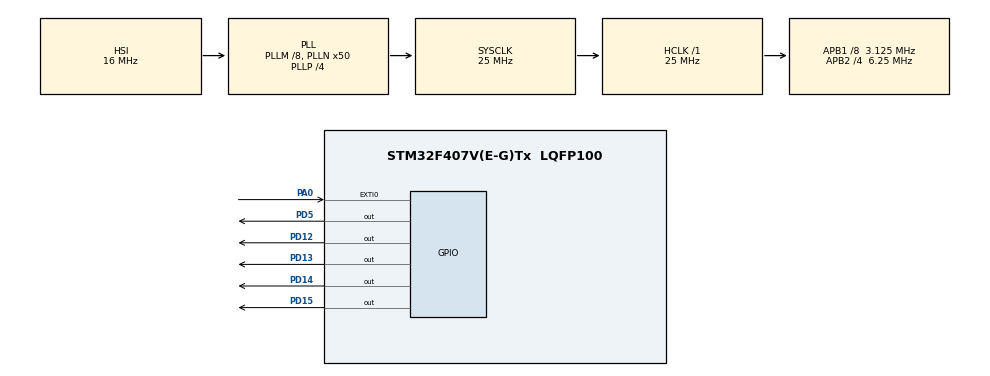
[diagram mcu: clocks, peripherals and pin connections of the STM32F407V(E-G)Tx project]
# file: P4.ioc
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Mcu.Family=STM32F4
Mcu.Name=STM32F407V(E-G)Tx
Mcu.Package=LQFP100
NVIC.EXTI0_IRQn=true\:0\:0\:false\:false\:true\:true\:true
NVIC.PriorityGroup=NVIC_PRIORITYGROUP_0
PA0-WKUP.Signal=GPXTI0
PD12.Signal=GPIO_Output
PD13.Signal=GPIO_Output
PD14.Signal=GPIO_Output
PD15.Signal=GPIO_Output
PD5.Signal=GPIO_Output
ProjectManager.HeapSize=0x200
ProjectManager.StackSize=0x400
ProjectManager.TargetToolchain=STM32CubeIDE
RCC.48MHZClocksFreq_Value=14285714.285714285
RCC.AHBFreq_Value=25000000
RCC.APB1CLKDivider=RCC_HCLK_DIV8
RCC.APB1Freq_Value=3125000
RCC.APB1TimFreq_Value=6250000
RCC.APB2CLKDivider=RCC_HCLK_DIV4
RCC.APB2Freq_Value=6250000
RCC.APB2TimFreq_Value=12500000
RCC.CortexFreq_Value=25000000
RCC.HCLKFreq_Value=25000000
RCC.HSE_VALUE=8000000
RCC.HSI_VALUE=16000000
RCC.PLLM=8
RCC.PLLN=50
RCC.PLLP=RCC_PLLP_DIV4
RCC.PLLQ=7
RCC.SYSCLKFreq_VALUE=25000000
RCC.SYSCLKSource=RCC_SYSCLKSOURCE_PLLCLK
RCC.VCOOutputFreq_Value=100000000
board=STM32F407G-DISC1

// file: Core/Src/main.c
/* USER CODE BEGIN Header */
/**
  ******************************************************************************
  * @file           : main.c
  * @brief          : Main program body
  ******************************************************************************
  * @attention
  *
  * Copyright (c) 2021 STMicroelectronics.
  * All rights reserved.
  *
  * This software is licensed under terms that can be found in the LICENSE file
  * in the root directory of this software component.
  * If no LICENSE file comes with this software, it is provided AS-IS.
  *
  ******************************************************************************
  */
/* USER CODE END Header */
#include "main.h"

/* USER CODE BEGIN Includes */
#include "stdlib.h"
/* USER CODE END Includes */

void SystemClock_Config(void);
static void MX_GPIO_Init(void);

/* USER CODE BEGIN 0 */
int button_int=0;
int t_disparo=0, repeticion=0;
float t_reaccion[5];
float t_reaccion_medio=0;
uint32_t primertick,contador;
/* USER CODE END 0 */

int main(void)
{

  /* MCU Configuration--------------------------------------------------------*/

  /* Reset of all peripherals, Initializes the Flash interface and the Systick. */
  HAL_Init();

  /* Configure the system clock */
  SystemClock_Config();

  /* Initialize all configured peripherals */
  MX_GPIO_Init();
  /* USER CODE BEGIN 2 */
  uint8_t button_count=0;
  /* USER CODE END 2 */

  /* Infinite loop */
  /* USER CODE BEGIN WHILE */
  while (1)
  {
	  if(repeticion<1)
	  {

	  //Bucle for para obtener 5 medidas:
	  int num=5;
	  for(int j=0;j<num;j++){
	  //Deshabilito interrupciones hasta que se encienda el LED
	  HAL_NVIC_DisableIRQ(EXTI0_IRQn);
	  //tiempo de espera máximo en milisegundos
	  int N=4000;
	  //tiempo de espera mínimo en milisegundos
	  int M=2000;
	  contador=0;
	  button_int=0;
	  button_count=0;
	  //Creo animación, se encienden todos los LEDS y se apagan en orden
	  HAL_GPIO_WritePin(GPIOD, GPIO_PIN_12, GPIO_PIN_SET);
	  HAL_GPIO_WritePin(GPIOD, GPIO_PIN_13, GPIO_PIN_SET);
	  HAL_GPIO_WritePin(GPIOD, GPIO_PIN_14, GPIO_PIN_SET);
	  HAL_GPIO_WritePin(GPIOD, GPIO_PIN_15, GPIO_PIN_SET);
	  HAL_Delay(1000);
	  HAL_GPIO_WritePin(GPIOD, GPIO_PIN_12, GPIO_PIN_RESET);
	  HAL_Delay(1000);
	  HAL_GPIO_WritePin(GPIOD, GPIO_PIN_13, GPIO_PIN_RESET);
	  HAL_Delay(1000);
	  HAL_GPIO_WritePin(GPIOD, GPIO_PIN_14, GPIO_PIN_RESET);
	  HAL_Delay(1000);
	  HAL_GPIO_WritePin(GPIOD, GPIO_PIN_15, GPIO_PIN_RESET);
	  //genero tiempo de espera random y espero
	  t_disparo = rand () % (N-M+1) + M;
	  // HAL_Delay(t_disparo);
	  //Si quiero encender los leds mientras se produce la espera:
	  uint32_t tickstart = HAL_GetTick();
	  while((HAL_GetTick() - tickstart) < t_disparo)
	  {
	  //Código leds
		  HAL_GPIO_WritePin(GPIOD, GPIO_PIN_5, GPIO_PIN_RESET);
	  }
	  HAL_GPIO_WritePin(GPIOD, GPIO_PIN_5, GPIO_PIN_SET);
	  //Enciendo los LEDS
	  HAL_GPIO_WritePin(GPIOD, GPIO_PIN_12, GPIO_PIN_SET);
	  HAL_GPIO_WritePin(GPIOD, GPIO_PIN_13, GPIO_PIN_SET);
	  HAL_GPIO_WritePin(GPIOD, GPIO_PIN_14, GPIO_PIN_SET);
	  HAL_GPIO_WritePin(GPIOD, GPIO_PIN_15, GPIO_PIN_SET);
	  //Habilito interrupciones
	  HAL_NVIC_EnableIRQ(EXTI0_IRQn);
	  //Guardo el primer tick
	  primertick=HAL_GetTick();
	  //Sin Antirrebotes
	  while (button_int==0){
	    contador=HAL_GetTick()-primertick;
	  }

	  /*
	 //Antirrebotes
	  int counter=HAL_GetTick();
	  while(button_int==0){
	  if(button_int==1){
		  if (HAL_GetTick()-counter>=20){
		  		counter=HAL_GetTick();
		  			if (HAL_GPIO_ReadPin(GPIOA, GPIO_PIN_0)!=1){
		  				button_count=0;
		  				}else{
		  					button_count++;
		  				}
		  				if (button_count==1){
		  					button_count=0;
		  				    contador=HAL_GetTick()-primertick;
		  					button_int=0;
		  				}
		  			}
	  }
	  }
	  */

	  //Si el contador es 0, significa que el usuario ha apretado el botón antes de tiempo, realizo un parpadeo de LEDS:
	  if(contador==0){
		  for(int i=0;i<15;i++){
		  HAL_GPIO_WritePin(GPIOD, GPIO_PIN_12, GPIO_PIN_RESET);
		  HAL_GPIO_WritePin(GPIOD, GPIO_PIN_13, GPIO_PIN_RESET);
		  HAL_GPIO_WritePin(GPIOD, GPIO_PIN_14, GPIO_PIN_RESET);
		  HAL_GPIO_WritePin(GPIOD, GPIO_PIN_15, GPIO_PIN_RESET);
		  HAL_Delay(150);
		  HAL_GPIO_WritePin(GPIOD, GPIO_PIN_12, GPIO_PIN_SET);
		  HAL_GPIO_WritePin(GPIOD, GPIO_PIN_13, GPIO_PIN_SET);
		  HAL_GPIO_WritePin(GPIOD, GPIO_PIN_14, GPIO_PIN_SET);
		  HAL_GPIO_WritePin(GPIOD, GPIO_PIN_15, GPIO_PIN_SET);
		  HAL_Delay(150);
	  }
		  //Tiempo de reaccion no valido, se repetirá la medida:
		  j--;
	  }else{
		  //Se calcula el tiempo de reacción
		  t_reaccion[j]=contador/1000.0;
	  }

	  //Se apagan los LEDS y se esperan 2 segs
	  HAL_GPIO_WritePin(GPIOD, GPIO_PIN_12, GPIO_PIN_RESET);
	  HAL_GPIO_WritePin(GPIOD, GPIO_PIN_13, GPIO_PIN_RESET);
	  HAL_GPIO_WritePin(GPIOD, GPIO_PIN_14, GPIO_PIN_RESET);
	  HAL_GPIO_WritePin(GPIOD, GPIO_PIN_15, GPIO_PIN_RESET);
	  HAL_Delay(2000);
	  }
	  //Calculo tiempo reaccion medio
	  for(int j=0; j<num;j++){
		  t_reaccion_medio = t_reaccion_medio + t_reaccion[j];
	  }
	  t_reaccion_medio = t_reaccion_medio/num;
	  repeticion++;
	  }
    /* USER CODE END WHILE */

  }
}

void SystemClock_Config(void)
{
  RCC_OscInitTypeDef RCC_OscInitStruct = {0};
  RCC_ClkInitTypeDef RCC_ClkInitStruct = {0};

  /** Configure the main internal regulator output voltage
  */
  __HAL_RCC_PWR_CLK_ENABLE();
  __HAL_PWR_VOLTAGESCALING_CONFIG(PWR_REGULATOR_VOLTAGE_SCALE1);
  /** Initializes the RCC Oscillators according to the specified parameters
  * in the RCC_OscInitTypeDef structure.
  */
  RCC_OscInitStruct.OscillatorType = RCC_OSCILLATORTYPE_HSI;
  RCC_OscInitStruct.HSIState = RCC_HSI_ON;
  RCC_OscInitStruct.HSICalibrationValue = RCC_HSICALIBRATION_DEFAULT;
  RCC_OscInitStruct.PLL.PLLState = RCC_PLL_ON;
  RCC_OscInitStruct.PLL.PLLSource = RCC_PLLSOURCE_HSI;
  RCC_OscInitStruct.PLL.PLLM = 8;
  RCC_OscInitStruct.PLL.PLLN = 50;
  RCC_OscInitStruct.PLL.PLLP = RCC_PLLP_DIV4;
  RCC_OscInitStruct.PLL.PLLQ = 7;
  if (HAL_RCC_OscConfig(&RCC_OscInitStruct) != HAL_OK)
  {
    Error_Handler();
  }
  /** Initializes the CPU, AHB and APB buses clocks
  */
  RCC_ClkInitStruct.ClockType = RCC_CLOCKTYPE_HCLK|RCC_CLOCKTYPE_SYSCLK
                              |RCC_CLOCKTYPE_PCLK1|RCC_CLOCKTYPE_PCLK2;
  RCC_ClkInitStruct.SYSCLKSource = RCC_SYSCLKSOURCE_PLLCLK;
  RCC_ClkInitStruct.AHBCLKDivider = RCC_SYSCLK_DIV1;
  RCC_ClkInitStruct.APB1CLKDivider = RCC_HCLK_DIV8;
  RCC_ClkInitStruct.APB2CLKDivider = RCC_HCLK_DIV4;

  if (HAL_RCC_ClockConfig(&RCC_ClkInitStruct, FLASH_LATENCY_0) != HAL_OK)
  {
    Error_Handler();
  }
}

static void MX_GPIO_Init(void)
{
  GPIO_InitTypeDef GPIO_InitStruct = {0};

  /* GPIO Ports Clock Enable */
  __HAL_RCC_GPIOA_CLK_ENABLE();
  __HAL_RCC_GPIOD_CLK_ENABLE();

  /*Configure GPIO pin Output Level */
  HAL_GPIO_WritePin(GPIOD, GPIO_PIN_12|GPIO_PIN_13|GPIO_PIN_14|GPIO_PIN_15
                          |GPIO_PIN_5, GPIO_PIN_RESET);

  /*Configure GPIO pin : PA0 */
  GPIO_InitStruct.Pin = GPIO_PIN_0;
  GPIO_InitStruct.Mode = GPIO_MODE_IT_RISING;
  GPIO_InitStruct.Pull = GPIO_NOPULL;
  HAL_GPIO_Init(GPIOA, &GPIO_InitStruct);

  /*Configure GPIO pins : PD12 PD13 PD14 PD15
                           PD5 */
  GPIO_InitStruct.Pin = GPIO_PIN_12|GPIO_PIN_13|GPIO_PIN_14|GPIO_PIN_15
                          |GPIO_PIN_5;
  GPIO_InitStruct.Mode = GPIO_MODE_OUTPUT_PP;
  GPIO_InitStruct.Pull = GPIO_NOPULL;
  GPIO_InitStruct.Speed = GPIO_SPEED_FREQ_LOW;
  HAL_GPIO_Init(GPIOD, &GPIO_InitStruct);

  /* EXTI interrupt init*/
  HAL_NVIC_SetPriority(EXTI0_IRQn, 0, 0);
  HAL_NVIC_EnableIRQ(EXTI0_IRQn);

}

/* USER CODE BEGIN 4 */
void HAL_GPIO_EXTI_Callback(uint16_t GPIO_Pin)
{
	if (GPIO_Pin==GPIO_PIN_0){
		button_int=1;
	}
}
/* USER CODE END 4 */

void Error_Handler(void)
{
  __disable_irq();
  while (1)
  {
  }
}
